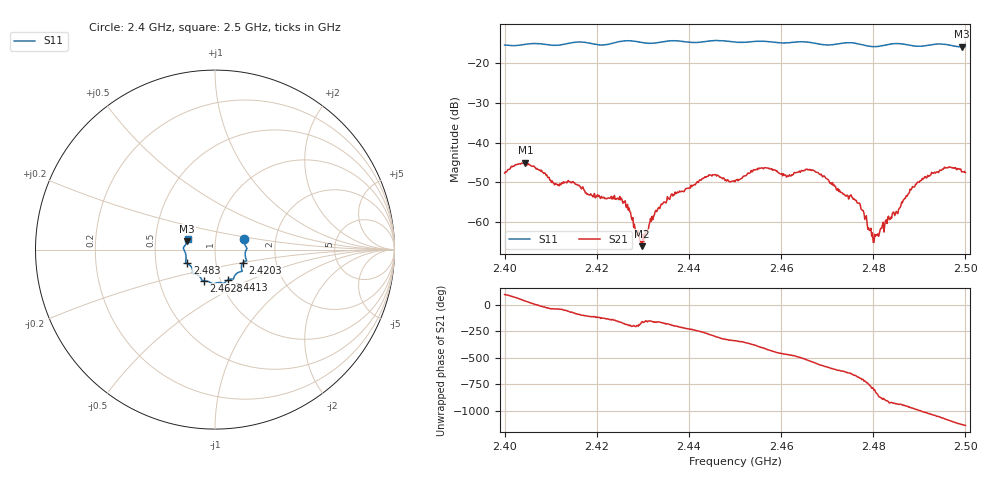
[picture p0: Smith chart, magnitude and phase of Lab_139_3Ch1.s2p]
# Hz S RI R 50
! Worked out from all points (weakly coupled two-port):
!   601 points, 2.4 GHz to 2.5 GHz, reference 50 ohm
!   highest |S21| = -45.00 dB at 2.4045 GHz (marker M1); lowest = -66.1 dB at 2.4298 GHz (marker M2)
!   lowest |S11| = -15.8 dB at 2.4992 GHz (marker M3), VSWR 1.39, Z = 36.4 + j3.54 ohm
!   |S11| at or under -10 dB: start of sweep to end of sweep
!   S12 and S22 are empty: the file has one direction only
!   S11 on the Smith chart (normalised r, x): 2.4 GHz: 1.37, +0.16; 2.4203 GHz: 1.35, -0.21; 2.4413 GHz: 1.09, -0.38; 2.4628 GHz: 0.83, -0.30; 2.483 GHz: 0.72, -0.11; 2.5 GHz: 0.73, +0.09
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2.4e9  0.1612 0.0571  -0.000536 0.00412  0 0  0 0
2.4045e9  0.1735 0.0149  0.00456 0.00329  0 0  0 0
2.411333e9  0.1678 -0.0245  0.00234 -0.00191  0 0  0 0
2.416667e9  0.1761 -0.0615  -0.000336 -0.00261  0 0  0 0
2.420333e9  0.1552 -0.0742  -0.000978 -0.00187  0 0  0 0
2.425667e9  0.1512 -0.118  -0.00172 -0.000166  0 0  0 0
2.429833e9  0.134 -0.1254  -0.000465 -0.000178  0 0  0 0
2.433333e9  0.108 -0.1484  -0.00143 -0.000454  0 0  0 0
2.441333e9  0.0746 -0.1681  -0.00143 0.00258  0 0  0 0
2.444833e9  0.0528 -0.186  0.00104 0.00376  0 0  0 0
2.45e9  0.0291 -0.1839  0.00302 0.00117  0 0  0 0
2.4555e9  -0.0101 -0.1909  0.00368 -0.00304  0 0  0 0
2.462833e9  -0.063 -0.1747  -0.00218 -0.00363  0 0  0 0
2.466667e9  -0.0744 -0.1675  -0.00448 -6.24e-05  0 0  0 0
2.476667e9  -0.1247 -0.1265  0.00142 0.00101  0 0  0 0
2.480167e9  -0.1326 -0.0947  3.47e-05 -0.000556  0 0  0 0
2.483e9  -0.1547 -0.0767  -0.000956 0.00011  0 0  0 0
2.483333e9  -0.157 -0.0756  -0.00113 0.000352  0 0  0 0
2.490833e9  -0.1649 -0.0189  0.00132 0.00325  0 0  0 0
2.496e9  -0.1719 0.0165  0.00484 -0.000508  0 0  0 0
2.499167e9  -0.1551 0.0473  0.00267 -0.00338  0 0  0 0
2.5e9  -0.1528 0.0586  0.00201 -0.00369  0 0  0 0
